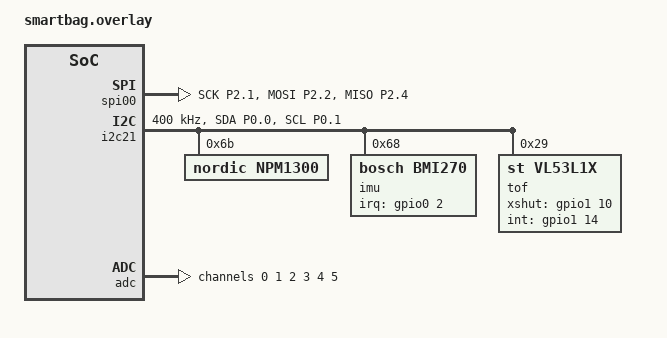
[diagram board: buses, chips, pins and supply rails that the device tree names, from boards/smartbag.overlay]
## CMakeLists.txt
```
# The nRF Connect SDK application: the nine HAL functions, and a main() that
# hands them to the logic in ../.
#
# ⭐ THE LOGIC IS NOT COPIED IN, IT IS COMPILED IN. ../sb_power.c and its
# neighbours are the same files firmware/Makefile builds for the host tests, and
# they appear once. A target build that forked them would let the tested version
# and the shipped version drift, which is the failure this whole arrangement
# exists to prevent.
cmake_minimum_required(VERSION 3.20.0)
find_package(Zephyr REQUIRED HINTS $ENV{ZEPHYR_BASE})
project(smartbag)

target_include_directories(app PRIVATE ${CMAKE_CURRENT_SOURCE_DIR}/..)

target_sources(app PRIVATE
    src/main.c
    src/sb_hal_zephyr.c
    src/npm1300.c
    src/gatt.c
    ../smartbag.c
    ../sb_power.c
    ../sb_sensors.c
    ../sb_sense.c
    ../sb_camera.c
    ../sb_fsr.c
    ../sb_ble.c
)
```

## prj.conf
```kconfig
# ⚠️ Every option here is switched on because a specific HAL function needs it.
# Nothing is enabled "in case".

# sb_hal_zephyr.c: gpio_set / gpio_get / mux_select
CONFIG_GPIO=y

# spi_xfer — the two radars and the camera share one bus, chip selects are
# GPIOs because there are three of them and one CSN pin.
CONFIG_SPI=y

# i2c_write / i2c_read — the PMIC, the IMU and the time-of-flight sensor
CONFIG_I2C=y

# adc_read — the six transimpedance outputs behind the multiplexer
CONFIG_ADC=y

# The GATT layer sb_ble.c encodes for. ⚠️ sb_ble.c produces the BYTES; this is
# the stack that carries them, and it is the one part of the firmware the host
# tests cannot exercise.
CONFIG_BT=y
CONFIG_BT_PERIPHERAL=y
CONFIG_BT_DEVICE_NAME="SmartBag"
CONFIG_BT_GATT_DYNAMIC_DB=y
CONFIG_BT_ATT_PREPARE_COUNT=2
# 247 bytes is what app/protocol.js assumes when it fragments an inventory.
CONFIG_BT_L2CAP_TX_MTU=247
CONFIG_BT_BUF_ACL_RX_SIZE=251
CONFIG_BT_BUF_ACL_TX_SIZE=251
CONFIG_BT_CTLR_DATA_LENGTH_MAX=251

# The ledger survives a reset: it is what the app reads to know what is in the
# bag, and losing it on every battery scare would make the inventory a lie.
CONFIG_NVS=y
CONFIG_FLASH=y
CONFIG_FLASH_MAP=y
CONFIG_SETTINGS=y

CONFIG_MAIN_STACK_SIZE=4096
CONFIG_HEAP_MEM_POOL_SIZE=8192

# ⭐ The logic below the HAL is plain C99 with no libc surprises; it is built
# with the same warnings the host tests use.
CONFIG_COMPILER_WARNINGS_AS_ERRORS=y

# Deep sleep is the whole power budget: thermal/budget.py charges 25 uW of
# "deep sleep" against the average, which is System OFF with RAM retention.
CONFIG_PM=y
CONFIG_PM_DEVICE=y

CONFIG_LOG=y
CONFIG_LOG_DEFAULT_LEVEL=2

# ⛔ THE PMIC IS A SENSOR DRIVER IN THIS TREE, not a charger one. Found by
# linking: charger_set_prop() compiles and does not link, because
# nordic,npm1300-charger is a binding under dts/bindings/sensor.
CONFIG_I2C=y
CONFIG_MFD=y
CONFIG_MFD_NPM13XX=y
CONFIG_SENSOR=y
CONFIG_NPM13XX_CHARGER=y
```

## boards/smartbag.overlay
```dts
/* GENERATED by hardware/generate_pinmap.py — do not edit.
 *
 * The board, as Zephyr needs to hear it. Every pin below is netlist.py's and
 * every charge threshold is the cell's own datasheet, via hardware/bom.py.
 *
 * ⚠️ This overlays the nRF54L15 DK, which is the only nRF54L15 board that can be
 * bought today. The SmartBag board is the same silicon with a different pin map,
 * and that pin map is what this file is.
 */

/* ⛔ I2C21 AND NOT I2C20. On nRF54L15 the peripheral instances are shared: SPI20,
 * SPIM20, TWIM20 and UARTE20 are the same block, and enabling two of them stops
 * the build with a static assertion rather than misbehaving at runtime. The DK
 * puts its console on uart20, so the bus had to move — and on the SmartBag board,
 * which has no console UART, instance 20 would have been free and this would
 * have been discovered on silicon instead.
 *
 * ⚠️ EVERY PINCTRL NODE NEEDS A SLEEP STATE AS WELL AS A DEFAULT. The board's
 * own devicetree gives spi00 both, so an overlay that replaces pinctrl-names
 * with a single "default" leaves pinctrl-1 defined and unnamed — and the build
 * stops with "has 1 strings, expected 2". It is also not busywork: the sleep
 * state is what disconnects the pins when the peripheral is powered down, and
 * this design spends almost all of its life powered down. */
&pinctrl {
    spi00_default: spi00_default {
        group1 {
            psels = <NRF_PSEL(SPIM_SCK, 2, 1)>,
                    <NRF_PSEL(SPIM_MOSI, 2, 2)>,
                    <NRF_PSEL(SPIM_MISO, 2, 4)>;
        };
    };

    spi00_sleep: spi00_sleep {
        group1 {
            psels = <NRF_PSEL(SPIM_SCK, 2, 1)>,
                    <NRF_PSEL(SPIM_MOSI, 2, 2)>,
                    <NRF_PSEL(SPIM_MISO, 2, 4)>;
            low-power-enable;
        };
    };

    i2c21_default: i2c21_default {
        group1 {
            psels = <NRF_PSEL(TWIM_SDA, 0, 0)>,
                    <NRF_PSEL(TWIM_SCL, 0, 1)>;
            bias-pull-up;
        };
    };

    i2c21_sleep: i2c21_sleep {
        group1 {
            psels = <NRF_PSEL(TWIM_SDA, 0, 0)>,
                    <NRF_PSEL(TWIM_SCL, 0, 1)>;
            low-power-enable;
        };
    };
};

&spi00 {
    status = "okay";
    pinctrl-0 = <&spi00_default>;
    pinctrl-1 = <&spi00_sleep>;
    pinctrl-names = "default", "sleep";
    /* ⚠️ No cs-gpios: there are three devices on this bus and one CSN pin, so
     * the selects are plain GPIOs driven by sb_hal_zephyr.c. */
};

&i2c21 {
    status = "okay";
    pinctrl-0 = <&i2c21_default>;
    pinctrl-1 = <&i2c21_sleep>;
    pinctrl-names = "default", "sleep";
    clock-frequency = <I2C_BITRATE_FAST>;

    npm1300: pmic@6b {
        compatible = "nordic,npm1300";
        reg = <0x6b>;

        npm1300_charger: charger {
            compatible = "nordic,npm1300-charger";
            /* From Jauch LP523450JU: 4.2 V termination, 1.0 C = 1000 mA. */
            term-microvolt = <4200000>;
            current-microamp = <1000000>;
            /* ⛔ The cell's own bands, not lithium's in general. */
            dischg-limit-microamp = <1000000>;
            vbus-limit-microamp = <500000>;
            thermistor-ohms = <10000>;
            thermistor-beta = <3435>;
            thermistor-cold-millidegrees = <0>;
            thermistor-cool-millidegrees = <15000>;
            thermistor-warm-millidegrees = <45000>;
            thermistor-hot-millidegrees = <55000>;
            charging-enable;
        };
    };

    imu@68 {
        compatible = "bosch,bmi270";
        reg = <0x68>;
        irq-gpios = <&gpio0 2 GPIO_ACTIVE_HIGH>;
    };

    tof@29 {
        compatible = "st,vl53l1x";
        reg = <0x29>;
        xshut-gpios = <&gpio1 10 GPIO_ACTIVE_HIGH>;
        int-gpios = <&gpio1 14 GPIO_ACTIVE_HIGH>;
    };
};

&adc {
    status = "okay";
    #address-cells = <1>;
    #size-cells = <0>;

    channel@0 {
        reg = <0>;
        zephyr,gain = "ADC_GAIN_1_4";
        zephyr,reference = "ADC_REF_VDD_1_4";
        zephyr,acquisition-time = <ADC_ACQ_TIME_DEFAULT>;
        zephyr,input-positive = <NRF_SAADC_AIN0>;   /* ADC0, P1.04 */
        zephyr,resolution = <12>;
    };

    channel@1 {
        reg = <1>;
        zephyr,gain = "ADC_GAIN_1_4";
        zephyr,reference = "ADC_REF_VDD_1_4";
        zephyr,acquisition-time = <ADC_ACQ_TIME_DEFAULT>;
        zephyr,input-positive = <NRF_SAADC_AIN1>;   /* ADC1, P1.05 */
        zephyr,resolution = <12>;
    };

    channel@2 {
        reg = <2>;
        zephyr,gain = "ADC_GAIN_1_4";
        zephyr,reference = "ADC_REF_VDD_1_4";
        zephyr,acquisition-time = <ADC_ACQ_TIME_DEFAULT>;
        zephyr,input-positive = <NRF_SAADC_AIN2>;   /* ADC2, P1.06 */
        zephyr,resolution = <12>;
    };

    channel@3 {
        reg = <3>;
        zephyr,gain = "ADC_GAIN_1_4";
        zephyr,reference = "ADC_REF_VDD_1_4";
        zephyr,acquisition-time = <ADC_ACQ_TIME_DEFAULT>;
        zephyr,input-positive = <NRF_SAADC_AIN3>;   /* ADC3, P1.07 */
        zephyr,resolution = <12>;
    };

    channel@4 {
        reg = <4>;
        zephyr,gain = "ADC_GAIN_1_4";
        zephyr,reference = "ADC_REF_VDD_1_4";
        zephyr,acquisition-time = <ADC_ACQ_TIME_DEFAULT>;
        zephyr,input-positive = <NRF_SAADC_AIN4>;   /* ADC4, P1.11 */
        zephyr,resolution = <12>;
    };

    channel@5 {
        reg = <5>;
        zephyr,gain = "ADC_GAIN_1_4";
        zephyr,reference = "ADC_REF_VDD_1_4";
        zephyr,acquisition-time = <ADC_ACQ_TIME_DEFAULT>;
        zephyr,input-positive = <NRF_SAADC_AIN5>;   /* ADC5, P1.12 */
        zephyr,resolution = <12>;
    };
};
```

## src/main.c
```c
/* The entry point: build the HAL, hand it to the logic, and get out of the way.
 *
 * ⭐ THIS FILE IS DELIBERATELY SHORT AND HAS NOTHING TO TEST IN IT. Every
 * decision the bag makes — when to wake, what to believe, whether to charge —
 * is in ../smartbag.c, ../sb_power.c, ../sb_sensors.c and ../sb_fsr.c, under
 * 378 host assertions. If a rule ever appears here it has escaped from
 * somewhere it could be checked, and it should be put back.
 *
 * ⚠️ COMPILED, and that is recent. tools/check.py builds this image and fails
 * if it does not link; see README.md for what that does and does not prove.
 */
#include <zephyr/kernel.h>
#include <zephyr/bluetooth/bluetooth.h>
#include <zephyr/logging/log.h>

#include "smartbag.h"
#include "sb_hal.h"
#include "sb_power.h"
#include "sb_sensors.h"
#include "sb_sense.h"
#include "sb_fsr.h"
#include "sb_ble.h"

LOG_MODULE_REGISTER(smartbag, CONFIG_LOG_DEFAULT_LEVEL);

int sb_hal_zephyr_init(sb_hal *hal);
bool sb_pmic_ready(void);
int16_t sb_pmic_cell_temp_c(bool *valid);
void sb_pmic_apply(const sb_charge_decision *d);
int sb_gatt_start(const sb_device *d, const sb_config *cfg, sb_enroll *e);

static sb_hal hal;
static sb_device dev;
static sb_sensors sensors;
static sb_enroll enroll;
static const sb_config *const cfg = &SB_DEFAULTS;

/* ⚠️ 28 kB of it — an 18 kB RGB565 frame and a 9 kB luma one — so it is a
 * static and not a stack frame. Zephyr's main thread stack is 2 kB. */
static sb_sense sense;

/* The FSR front end: the multiplexer and the amplifiers behind the same HAL. */
static void fsr_drive(void *c, uint8_t col, sb_fsr_drive m);
static uint16_t fsr_read(void *c, uint8_t row);
static void fsr_settle(void *c, uint32_t us);
static sb_fsr_hal fsr_hal;

/* ⭐ THE LOOP PRODUCES EVENTS AND sb_feed DECIDES WHAT THEY MEAN, and this
 * three-line function is the entire join between them. Everything above it is
 * silicon and everything below it is under host assertions. */
static void feed(void *ctx, const sb_event *ev)
{
    ARG_UNUSED(ctx);
    sb_feed(&dev, cfg, ev);
}

/* ⚠️ The Hall sensor is the whole wake-up chain's first link and it is also the
 * charge interlock's only input. Reading it in one place means the two cannot
 * disagree about whether the bag is open. */
static bool bag_is_open(void)
{
    /* DRV5032 is open-drain and active low: pulled down when a magnet is near,
     * which is when the closure is SHUT. */
    return hal.gpio_get(hal.ctx, SB_PIN_HALL);
}

int main(void)
{
    if (sb_hal_zephyr_init(&hal) != 0) {
        LOG_ERR("HAL did not come up — nothing below this is meaningful");
        return -ENODEV;
    }
    sb_sensors_init(&sensors);
    sb_init(&dev, hal.now_ms(hal.ctx));
    fsr_hal = (sb_fsr_hal){ fsr_drive, fsr_read, fsr_settle, NULL };
    sb_sense_init(&sense, hal.now_ms(hal.ctx));

    int err = bt_enable(NULL);
    if (err) {
        /* ⚠️ Not fatal. A bag that cannot talk to a phone still has to know
         * what is in it and still has to charge safely; the radio is the least
         * important thing here and must not take the rest down with it. */
        LOG_WRN("bluetooth did not start (%d) — running without it", err);
    } else {
        sb_enroll_init(&enroll, 1);
        err = sb_gatt_start(&dev, cfg, &enroll);
        if (err) {
            LOG_WRN("advertising did not start (%d)", err);
        }
    }

    if (!sb_pmic_ready()) {
        /* ⛔ FATAL, unlike the radio. Without the PMIC there is no cell
         * temperature, and firmware/sb_power.c refuses to charge without one —
         * so a bag that ran on would quietly never charge again. */
        LOG_ERR("nPM1300 not ready — no cell temperature, so no charging");
    }
    LOG_INF("SmartBag up: %u taxels, cell %u mAh",
            (unsigned)SB_FSR_TAXELS, (unsigned)SB_CELL_CAPACITY_MAH);

    for (;;) {
        const uint32_t now = hal.now_ms(hal.ctx);

        /* ⭐ THE CHARGE DECISION IS TAKEN EVERY TICK AND IS CHEAP. It is three
         * comparisons against numbers out of the cell's datasheet, and the
         * alternative — deciding once when the pad appears — is a bag that
         * started charging on a cool morning and kept going in a hot car. */
        bool ntc_ok = false;
        const int16_t cell_c = sb_pmic_cell_temp_c(&ntc_ok);
        const sb_charge_input in = {
            .vbus_present = hal.gpio_get(hal.ctx, SB_PIN_PMIC_IRQ),
            .bag_open = bag_is_open(),
            .cell_c = cell_c,
            .ntc_valid = ntc_ok,
        };
        const sb_charge_decision d = sb_charge_decide(&in);
        sb_pmic_apply(&d);

        /* ⭐ AND HERE IS THE THING THAT WAS MISSING FOR THE WHOLE OF THIS
         * PROJECT'S LIFE. sb_feed() is what turns a sensor into an inventory
         * and until now nothing called it: the bag could boot, advertise,
         * charge and answer a phone, and report itself empty forever. */
        const uint32_t wait = sb_sense_step(&sense, &hal, &sensors, &fsr_hal,
                                            now, feed, NULL);

        sb_tick(&dev, cfg, now);

        /* ⚠️ THE SLEEP IS THE SENSING LOOP'S, NOT A CONSTANT. thermal/budget.py's
         * 25 uW of deep sleep is the dominant term once the sensors are idle,
         * and sb_sense_step returns 250 ms when the bag is shut and 30 while it
         * is watching the mouth — so the bag polls fast exactly when something
         * is happening and is asleep the rest of the time. The floor of 20 ms
         * is there so the charge decision above still runs often enough to
         * matter, and its ceiling is the loop's own answer. */
        k_msleep(wait < 20 ? 20 : (wait > 250 ? 250 : wait));
    }
    return 0;
}

/* ── the taxel front end ──────────────────────────────────────────────────────
 * ⚠️ Three lines of glue that could have lived in sb_hal_zephyr.c and do not,
 * because sb_fsr.h's vtable is a different shape from sb_hal's and joining them
 * there would have made that file know about both. */
static void fsr_drive(void *c, uint8_t col, sb_fsr_drive m)
{
    ARG_UNUSED(c);
    /* ⛔ THE POLARITY IS INVERTED HERE AND THAT IS THE BOARD, NOT A BUG.
     * sb_fsr.c models a matrix where the idle columns are held at ground and
     * the selected one is driven high. hardware/netlist.py drew the opposite
     * and did it on purpose: all sixteen columns rest at VREF through R20..R35,
     * and U7 — one CD74HC4067 — pulls exactly ONE of them down to ground. The
     * topology is what sb_fsr.c actually depends on, which is that the idle
     * columns sit at the same potential as the row amplifiers' summing junction
     * and so cannot carry a sneak current. Which end of the supply that shared
     * potential is does not change a single reading.
     *
     * ⭐ AND IT MEANS THE GHOSTING TEST'S BAD CASE CANNOT BE BUILT ON THIS
     * BOARD. test_sb_fsr.c solves the network and finds a phantom taxel reading
     * 39% of a real one when the idle columns float; here they cannot float,
     * because sixteen resistors hold them. SB_FSR_HIZ and SB_FSR_LOW therefore
     * do the same thing — disable the multiplexer — and the pull-ups do the
     * rest.
     *
     * ⚠️ The channel is 0..15. There is no col+16: it is one 16:1 part, not two. */
    switch (m) {
    case SB_FSR_HIGH: hal.mux_select(hal.ctx, col); break;   /* select = pull low */
    case SB_FSR_LOW:
    case SB_FSR_HIZ:
    default:          hal.mux_select(hal.ctx, -1); break;    /* the pull-ups hold */
    }
}

static uint16_t fsr_read(void *c, uint8_t row)
{
    ARG_UNUSED(c);
    return hal.adc_read(hal.ctx, row);
}

static void fsr_settle(void *c, uint32_t us)
{
    ARG_UNUSED(c);
    hal.delay_us(hal.ctx, us);
}
```

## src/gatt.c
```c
/* The GATT service: five characteristics carrying bytes sb_ble.c already makes.
 *
 * ⛔ THIS WAS THE LAST THING IN THE FIRMWARE THE HOST TESTS COULD NOT STAND IN
 * FOR. sb_ble.c encodes every payload and app/protocol.js decodes the same bytes
 * under 15 tests — both ends of the wire were written and checked against each
 * other, with nothing in between. A service definition is what turns two
 * agreeing codecs into a link.
 *
 * ⭐ SO THERE IS NO ENCODING IN THIS FILE. Every read handler calls into
 * ../sb_ble.c and hands back what it produced; the UUIDs are the ones
 * app/app.js already asks for. If a payload is ever wrong, it is wrong in a file
 * that has tests, not in this one.
 *
 * ⚠️ THE UUIDs ARE PLACEHOLDERS AND app/app.js SAYS SO TOO. 5342a0xx in the
 * Bluetooth base range is fine on a bench and is not an allocation; shipping
 * wants a real 128-bit base, and both sides have to change together.
 */
#include <zephyr/kernel.h>
#include <zephyr/bluetooth/bluetooth.h>
#include <zephyr/bluetooth/gatt.h>
#include <zephyr/bluetooth/uuid.h>
#include <zephyr/logging/log.h>

#include "smartbag.h"
#include "sb_ble.h"

/* ⚠️ Declared here rather than included: these are the two numbers the info
 * payload needs from outside the ledger, and both come from files this one has
 * no other business with. */
uint8_t sb_pmic_battery_pct(void);
uint8_t sb_fsr_faults(void);
#define SB_FIRMWARE_VERSION 0x0103      /* 1.3, as app/app.js expects */

LOG_MODULE_REGISTER(sb_gatt, CONFIG_LOG_DEFAULT_LEVEL);

#define SB_UUID(n) BT_UUID_DECLARE_16(0xa0##n)

/* 5342a000-…: the service, then inventory, position, event, enrollment, info. */
static struct bt_uuid_128 uuid_svc = BT_UUID_INIT_128(
	BT_UUID_128_ENCODE(0x5342a000, 0x0000, 0x1000, 0x8000, 0x00805f9b34fb));
static struct bt_uuid_128 uuid_inventory = BT_UUID_INIT_128(
	BT_UUID_128_ENCODE(0x5342a001, 0x0000, 0x1000, 0x8000, 0x00805f9b34fb));
static struct bt_uuid_128 uuid_position = BT_UUID_INIT_128(
	BT_UUID_128_ENCODE(0x5342a002, 0x0000, 0x1000, 0x8000, 0x00805f9b34fb));
static struct bt_uuid_128 uuid_event = BT_UUID_INIT_128(
	BT_UUID_128_ENCODE(0x5342a003, 0x0000, 0x1000, 0x8000, 0x00805f9b34fb));
static struct bt_uuid_128 uuid_enroll = BT_UUID_INIT_128(
	BT_UUID_128_ENCODE(0x5342a004, 0x0000, 0x1000, 0x8000, 0x00805f9b34fb));
static struct bt_uuid_128 uuid_info = BT_UUID_INIT_128(
	BT_UUID_128_ENCODE(0x5342a005, 0x0000, 0x1000, 0x8000, 0x00805f9b34fb));

/* ⚠️ One buffer, and every handler fills it fresh. The characteristics are read
 * one at a time over a single connection; a buffer each would cost 5 x 244 bytes
 * of RAM to describe a bag that has at most a dozen things in it. */
static uint8_t payload[247];

static const sb_device *device;
static const sb_config *config;
static sb_enroll *enroll;

static ssize_t read_encoded(struct bt_conn *conn,
			    const struct bt_gatt_attr *attr, void *buf,
			    uint16_t len, uint16_t offset, int n)
{
	ARG_UNUSED(conn);
	ARG_UNUSED(attr);
	if (n < 0) {
		return BT_GATT_ERR(BT_ATT_ERR_UNLIKELY);
	}
	return bt_gatt_attr_read(conn, attr, buf, len, offset, payload, (uint16_t)n);
}

static ssize_t read_inventory(struct bt_conn *conn,
			      const struct bt_gatt_attr *attr, void *buf,
			      uint16_t len, uint16_t offset)
{
	return read_encoded(conn, attr, buf, len, offset,
			    sb_ble_encode_inventory(device, payload,
						    sizeof(payload)));
}

/* ⛔ THE DEVICE DOES NOT STORE POSITIONS AND THAT IS NOT AN OMISSION. sb_map
 * holds when the bag was last measured and how much it has been shaken since —
 * the trust, not the answer. The points come from a radar sweep, and until one
 * has run there is nothing to report but the ledger.
 *
 * ⭐ WHICH IS EXACTLY WHAT GETS REPORTED, at confidence zero. sb_ble.c already
 * encodes a below-threshold object as a compartment and no point, and
 * app/app.js already draws that as a tinted third of the bag rather than a dot.
 * Both ends were written for this state; it is the state the bag is in for most
 * of its life, and it is the honest one before the sensing loop exists.
 */
static ssize_t read_position(struct bt_conn *conn,
			     const struct bt_gatt_attr *attr, void *buf,
			     uint16_t len, uint16_t offset)
{
	sb_ble_position pos[SB_MAX_OBJECTS];
	int n = 0;

	for (int i = 0; i < device->ledger.count && n < SB_MAX_OBJECTS; i++) {
		if (!device->ledger.items[i].present) {
			continue;
		}
		pos[n].object_id = device->ledger.items[i].id;
		pos[n].x_um = 0;
		pos[n].y_um = 0;
		pos[n].compartment = 1;          /* the middle third, unless measured */
		pos[n].confidence = 0;           /* below SB_CONFIDENCE_FLOOR */
		n++;
	}
	return read_encoded(conn, attr, buf, len, offset,
			    sb_ble_encode_position(device, config, pos, n,
						   (uint32_t)k_uptime_get_32(),
						   payload, sizeof(payload)));
}

static ssize_t read_info(struct bt_conn *conn, const struct bt_gatt_attr *attr,
			 void *buf, uint16_t len, uint16_t offset)
{
	return read_encoded(conn, attr, buf, len, offset,
			    sb_ble_encode_device_info(device,
						      (uint32_t)k_uptime_get_32(),
						      sb_pmic_battery_pct(),
						      SB_FIRMWARE_VERSION,
						      sb_fsr_faults(), payload,
						      sizeof(payload)));
}

/* ⛔ ENROLMENT IS A WRITE, AND ITS ANSWER CAN BE "NO". sb_enroll_write() refuses
 * a label the insert cannot tell apart from one it already knows, and that
 * refusal is the interesting case — accepting it would make two objects
 * interchangeable for good. The decision is sb_ble.c's; this only carries it. */
static ssize_t write_enroll(struct bt_conn *conn,
			    const struct bt_gatt_attr *attr, const void *buf,
			    uint16_t len, uint16_t offset, uint8_t flags)
{
	ARG_UNUSED(conn);
	ARG_UNUSED(attr);
	ARG_UNUSED(flags);
	if (offset != 0) {
		return BT_GATT_ERR(BT_ATT_ERR_INVALID_OFFSET);
	}
	int n = sb_enroll_write(enroll, (sb_device *)device, buf, len,
				(uint32_t)k_uptime_get_32(), payload,
				sizeof(payload));
	if (n < 0) {
		return BT_GATT_ERR(BT_ATT_ERR_WRITE_NOT_PERMITTED);
	}
	return len;
}

static void ccc_changed(const struct bt_gatt_attr *attr, uint16_t value)
{
	ARG_UNUSED(attr);
	LOG_INF("notifications %s", value == BT_GATT_CCC_NOTIFY ? "on" : "off");
}

BT_GATT_SERVICE_DEFINE(smartbag_svc,
	BT_GATT_PRIMARY_SERVICE(&uuid_svc),

	BT_GATT_CHARACTERISTIC(&uuid_inventory.uuid,
			       BT_GATT_CHRC_READ | BT_GATT_CHRC_NOTIFY,
			       BT_GATT_PERM_READ, read_inventory, NULL, NULL),
	BT_GATT_CCC(ccc_changed, BT_GATT_PERM_READ | BT_GATT_PERM_WRITE),

	BT_GATT_CHARACTERISTIC(&uuid_position.uuid,
			       BT_GATT_CHRC_READ | BT_GATT_CHRC_NOTIFY,
			       BT_GATT_PERM_READ, read_position, NULL, NULL),
	BT_GATT_CCC(ccc_changed, BT_GATT_PERM_READ | BT_GATT_PERM_WRITE),

	BT_GATT_CHARACTERISTIC(&uuid_event.uuid, BT_GATT_CHRC_NOTIFY,
			       BT_GATT_PERM_NONE, NULL, NULL, NULL),
	BT_GATT_CCC(ccc_changed, BT_GATT_PERM_READ | BT_GATT_PERM_WRITE),

	BT_GATT_CHARACTERISTIC(&uuid_enroll.uuid,
			       BT_GATT_CHRC_WRITE | BT_GATT_CHRC_NOTIFY,
			       BT_GATT_PERM_WRITE, NULL, write_enroll, NULL),
	BT_GATT_CCC(ccc_changed, BT_GATT_PERM_READ | BT_GATT_PERM_WRITE),

	BT_GATT_CHARACTERISTIC(&uuid_info.uuid, BT_GATT_CHRC_READ,
			       BT_GATT_PERM_READ, read_info, NULL, NULL),
);

static const struct bt_data ad[] = {
	BT_DATA_BYTES(BT_DATA_FLAGS, (BT_LE_AD_GENERAL | BT_LE_AD_NO_BREDR)),
	BT_DATA(BT_DATA_NAME_COMPLETE, CONFIG_BT_DEVICE_NAME,
		sizeof(CONFIG_BT_DEVICE_NAME) - 1),
};

int sb_gatt_start(const sb_device *d, const sb_config *cfg, sb_enroll *e)
{
	device = d;
	config = cfg;
	enroll = e;
	/* ⚠️ Connectable advertising costs 12 mW for a millisecond a second, which
	 * is 12 uW of the 0.14 mW budget in thermal/budget.py — the second largest
	 * term in it, and the reason this is not faster. */
	return bt_le_adv_start(BT_LE_ADV_CONN_FAST_1, ad, ARRAY_SIZE(ad), NULL, 0);
}

/* Called by main() when something happened the app should hear about. */
void sb_gatt_notify_event(sb_ble_event_type type, uint16_t object_id,
			  uint32_t now_ms)
{
	int n = sb_ble_encode_event(type, object_id, now_ms, payload,
				    sizeof(payload));
	if (n > 0) {
		bt_gatt_notify(NULL, &smartbag_svc.attrs[7], payload, (uint16_t)n);
	}
}
```

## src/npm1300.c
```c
/* The PMIC, through Nordic's own driver rather than through invented registers.
 *
 * ⛔ THE TEMPTATION HERE IS A REGISTER MAP FROM MEMORY. Write `i2c_write(0x6b,
 * 0x0303, 0x01)` and the charger appears to come on; get one offset wrong and it
 * comes on with the wrong current limit, into a cell whose datasheet says 1.0 C.
 * This project spent a long time removing exactly that kind of invention from
 * its bill of materials, and it would be a strange place to reintroduce it.
 *
 * ⭐ SO THE THRESHOLDS ARE DEVICETREE AND THE ACTIONS ARE THE DRIVER'S. The JEITA
 * bands, the termination voltage and the 1.0 C charge current are in
 * boards/smartbag.overlay, which hardware/generate_pinmap.py writes from the
 * cell's own datasheet; what is left for C is turning sb_charge_decide()'s
 * answer into two calls.
 *
 * ⚠️ IT IS A SENSOR DRIVER, NOT A CHARGER DRIVER, AND THAT WAS WORTH FINDING OUT
 * BY COMPILING. This file first used Zephyr's charger API — charger_set_prop(),
 * CHARGER_PROP_CONSTANT_CHARGE_CURRENT_UA — which reads correctly and does not
 * link: in this tree nordic,npm1300-charger is a binding under
 * dts/bindings/sensor, and it is driven with sensor_attr_set().
 *
 * ⭐ THE MAPPING IS BETTER THAN THE ONE IT REPLACED, TOO. The attribute that sets
 * a current is the VBUS INPUT limit, not the charge current — and the input is
 * exactly what the policy constrains. thermal/budget.py's closed-bag figure is
 * watts arriving at the coil; the charge current into the cell is the cell's own
 * business and stays in devicetree where its datasheet put it.
 */
#include <zephyr/kernel.h>
#include <zephyr/device.h>
#include <zephyr/drivers/sensor.h>
#include <zephyr/logging/log.h>

#include "sb_power.h"

LOG_MODULE_REGISTER(npm1300, CONFIG_LOG_DEFAULT_LEVEL);

static const struct device *const charger =
	DEVICE_DT_GET(DT_NODELABEL(npm1300_charger));

/* VBUS is nominally 5 V out of the Qi receiver, so the policy's milliwatts
 * become milliamps by dividing by five. ⚠️ The driver snaps this to the nearest
 * limit the hardware actually has, which is a short list. */
#define VBUS_MV 5000

bool sb_pmic_ready(void)
{
	return device_is_ready(charger);
}

/* ⚠️ Returns the CELL's temperature, not the die's. They are different numbers
 * and the policy is about the first: the thermistor is in the pack, on pin 3 of
 * the harness, which is the entire reason J2 has three ways. */
int16_t sb_pmic_cell_temp_c(bool *valid)
{
	struct sensor_value t;

	*valid = false;
	if (!device_is_ready(charger)) {
		return 0;
	}
	if (sensor_sample_fetch(charger) != 0) {
		return 0;
	}
	if (sensor_channel_get(charger, SENSOR_CHAN_GAUGE_TEMP, &t) != 0) {
		return 0;
	}
	/* ⛔ AN OPEN THERMISTOR READS AS A PLAUSIBLE TEMPERATURE. A disconnected NTC
	 * pulls the divider to one rail, which the PMIC converts into a number at
	 * the end of its range rather than into an error — so "very cold" and "not
	 * plugged in" look the same. Anything outside what a bag can physically be
	 * is treated as a lost sensor, and sb_charge_decide() refuses to charge on
	 * it. That branch is one of the 276 host assertions.
	 */
	if (t.val1 < -30 || t.val1 > 90) {
		LOG_WRN("cell NTC reads %d C — treating as disconnected", t.val1);
		return 0;
	}
	*valid = true;
	return (int16_t)t.val1;
}

void sb_pmic_apply(const sb_charge_decision *d)
{
	struct sensor_value v;

	if (!device_is_ready(charger)) {
		return;
	}

	if (d->mode == SB_CHG_OFF) {
		v.val1 = 0;
		v.val2 = 0;
		sensor_attr_set(charger, SENSOR_CHAN_GAUGE_DESIRED_CHARGING_CURRENT,
				SENSOR_ATTR_CONFIGURATION, &v);
		return;
	}

	/* How much may arrive, in amps and microamps. */
	const uint32_t ua = (uint32_t)d->limit_mw * 1000U / VBUS_MV * 1000U;

	v.val1 = (int32_t)(ua / 1000000U);
	v.val2 = (int32_t)(ua % 1000000U);
	sensor_attr_set(charger, SENSOR_CHAN_CURRENT, SENSOR_ATTR_UPPER_THRESH, &v);

	v.val1 = 1;
	v.val2 = 0;
	sensor_attr_set(charger, SENSOR_CHAN_GAUGE_DESIRED_CHARGING_CURRENT,
			SENSOR_ATTR_CONFIGURATION, &v);
}

/* ⛔ STATE OF CHARGE IS NOT A THING THIS PMIC MEASURES. The nPM1300 reports
 * cell VOLTAGE, current and temperature; turning those into a percentage is a
 * model of the cell, and Nordic ship one as a separate library rather than in
 * the driver.
 *
 * ⭐ SO THE MODEL LIVES IN ../sb_power.c WHERE IT CAN BE TESTED, and this
 * function is two sensor reads and a call. What it used to be was a straight
 * line from 3.0 V to 4.2 V, which reads the cell's own stated 30% delivery
 * state as 64% — see the comment on SOC_CURVE for the four datasheet points
 * that replaced it, and test_sb_power.c for the assertions that hold it there.
 *
 * ⚠️ AND THE CURRENT MATTERS AS MUCH AS THE VOLTAGE. 180 mOhm of pack impedance
 * against a 1 A charge is 180 mV of lift; reading the terminal voltage while
 * charging and calling it state of charge is how a gauge jumps twenty points
 * when a bag is put on its pad. If the current cannot be read the correction is
 * zero, which is the old behaviour and is right for a resting cell.
 */
uint8_t sb_pmic_battery_pct(void)
{
	struct sensor_value v;

	if (!device_is_ready(charger) || sensor_sample_fetch(charger) != 0) {
		return 0;
	}
	if (sensor_channel_get(charger, SENSOR_CHAN_GAUGE_VOLTAGE, &v) != 0) {
		return 0;
	}
	const int mv = v.val1 * 1000 + v.val2 / 1000;

	int ma = 0;
	struct sensor_value i;
	if (sensor_channel_get(charger, SENSOR_CHAN_GAUGE_AVG_CURRENT, &i) == 0) {
		ma = i.val1 * 1000 + i.val2 / 1000;
	}
	if (mv < 0 || mv > 0xFFFF) {
		return 0;
	}
	return sb_soc_from_ocv_mv(sb_soc_ocv_mv((uint16_t)mv, (int16_t)ma));
}
```

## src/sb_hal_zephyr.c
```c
/* The nine functions sb_hal.h declares, on an nRF54L15 under Zephyr.
 *
 * ⛔ THIS IS THE FILE THAT DID NOT EXIST. sb_hal.h has said so since it was
 * written — "everything below is a function pointer and none of it is
 * implemented here" — and that was the honest size of the remaining silicon
 * work: nine functions, plus a stack. Everything above them was already written
 * and under 276 host assertions against a simulated bus.
 *
 * ⭐ NOTHING ABOVE THIS LINE CHANGES TO SUIT IT. The vtable is filled in here
 * and handed down; sb_sensors.c and sb_fsr.c are compiled from the same source
 * the host tests build, unmodified. That is the entire argument for having had
 * a HAL in the first place, and it is only worth anything if the target build
 * does not fork them.
 *
 * ⚠️ THIS HAS NOT BEEN COMPILED. There is no nRF Connect SDK and no ARM
 * toolchain on the machine it was written on, so it has been written against
 * the Zephyr API rather than against a compiler. Treat every line as a first
 * draft that has never met silicon — the arrangement is sound, the spelling of
 * the API calls is where the bugs will be. firmware/target/README.md says what
 * to run to find out.
 */
#include <zephyr/kernel.h>
#include <zephyr/device.h>
#include <zephyr/drivers/gpio.h>
#include <zephyr/drivers/spi.h>
#include <zephyr/drivers/i2c.h>
#include <zephyr/drivers/adc.h>
#include <zephyr/logging/log.h>

#include "sb_hal.h"
#include "sb_pinmap.h"

LOG_MODULE_REGISTER(sb_hal, CONFIG_LOG_DEFAULT_LEVEL);

/* ── the three GPIO ports, by devicetree label ───────────────────────────── */
static const struct device *const ports[3] = {
    DEVICE_DT_GET(DT_NODELABEL(gpio0)),
    DEVICE_DT_GET(DT_NODELABEL(gpio1)),
    DEVICE_DT_GET(DT_NODELABEL(gpio2)),
};

static const struct device *const spi_bus = DEVICE_DT_GET(DT_NODELABEL(spi00));
static const struct device *const i2c_bus = DEVICE_DT_GET(DT_NODELABEL(i2c21));
static const struct device *const saadc = DEVICE_DT_GET(DT_NODELABEL(adc));

/* ⚠️ Chip select is a plain GPIO and not the SPI driver's cs field, because
 * there are three devices and one CSN pin. The driver would drive its own line
 * on every transfer and the radar would never see its select go low. */
static struct spi_config spi_cfg = {
    /* A121 datasheet section 8: SPI mode 0, up to 50 MHz. The SoC's SPIM00 does
     * 32 MHz, which is the reason SPI_SCK/MOSI/MISO are not allowed to move off
     * P2.01/02/04 — see the comment in hardware/netlist.py. */
    .frequency = 32000000,
    .operation = SPI_WORD_SET(8) | SPI_TRANSFER_MSB | SPI_OP_MODE_MASTER,
    .slave = 0,
};

static int cfg_out(uint8_t port, uint8_t pin, int flags)
{
    if (port >= ARRAY_SIZE(ports) || !device_is_ready(ports[port])) {
        return -ENODEV;
    }
    return gpio_pin_configure(ports[port], pin, flags);
}

/* ── time ────────────────────────────────────────────────────────────────── */
static uint32_t hal_now_ms(void *ctx)
{
    ARG_UNUSED(ctx);
    return (uint32_t)k_uptime_get_32();
}

static void hal_delay_us(void *ctx, uint32_t us)
{
    ARG_UNUSED(ctx);
    /* ⚠️ Busy-wait, not k_sleep. The callers are bring-up sequences with
     * microsecond settling times out of a datasheet; handing those to the
     * scheduler turns a 10 us wait into a tick. */
    k_busy_wait(us);
}

/* ── SPI ─────────────────────────────────────────────────────────────────── */
static bool hal_spi_xfer(void *ctx, sb_cs cs, const uint8_t *tx, uint8_t *rx,
                         size_t len)
{
    ARG_UNUSED(ctx);
    if (cs >= SB_CS_COUNT || !device_is_ready(spi_bus)) {
        return false;
    }
    const struct spi_buf tx_buf = { .buf = (void *)tx, .len = len };
    const struct spi_buf rx_buf = { .buf = rx, .len = len };
    const struct spi_buf_set tx_set = { .buffers = &tx_buf, .count = tx ? 1 : 0 };
    const struct spi_buf_set rx_set = { .buffers = &rx_buf, .count = rx ? 1 : 0 };

    const uint8_t port = sb_cs_pins[cs].port, pin = sb_cs_pins[cs].pin;
    gpio_pin_set_raw(ports[port], pin, 0);          /* select: active low */
    int err = spi_transceive(spi_bus, &spi_cfg, tx ? &tx_set : NULL,
                             rx ? &rx_set : NULL);
    gpio_pin_set_raw(ports[port], pin, 1);
    if (err) {
        LOG_WRN("spi cs=%d len=%u err=%d", (int)cs, (unsigned)len, err);
    }
    return err == 0;
}

/* ⭐ ONE ASSERTION, TWO PHASES. Zephyr's spi_buf_set is a list, so a command
 * phase and a data phase of different lengths is what the API was built for:
 * the transmit set holds the command, the receive set skips those bytes and
 * then fills the frame buffer. The chip select is held across both because it
 * is a GPIO this file owns rather than the controller's own. */
static bool hal_spi_burst_read(void *ctx, sb_cs cs, const uint8_t *cmd,
                               size_t cmd_len, uint8_t *rx, size_t rx_len)
{
    ARG_UNUSED(ctx);
    if (cs >= SB_CS_COUNT || !device_is_ready(spi_bus) || !rx) {
        return false;
    }
    const struct spi_buf tx_bufs[] = { { .buf = (void *)cmd, .len = cmd_len } };
    const struct spi_buf rx_bufs[] = {
        { .buf = NULL, .len = cmd_len },        /* discard the command phase */
        { .buf = rx,   .len = rx_len },
    };
    const struct spi_buf_set tx_set = { .buffers = tx_bufs, .count = 1 };
    const struct spi_buf_set rx_set = { .buffers = rx_bufs, .count = 2 };

    const uint8_t port = sb_cs_pins[cs].port, pin = sb_cs_pins[cs].pin;
    gpio_pin_set_raw(ports[port], pin, 0);
    int err = spi_transceive(spi_bus, &spi_cfg, cmd_len ? &tx_set : NULL,
                             &rx_set);
    gpio_pin_set_raw(ports[port], pin, 1);
    if (err) {
        LOG_WRN("spi burst cs=%d len=%u err=%d", (int)cs, (unsigned)rx_len, err);
    }
    return err == 0;
}

/* ── I2C ─────────────────────────────────────────────────────────────────── */
static bool hal_i2c_write(void *ctx, uint8_t addr, const uint8_t *buf,
                          size_t len)
{
    ARG_UNUSED(ctx);
    if (!device_is_ready(i2c_bus)) {
        return false;
    }
    return i2c_write(i2c_bus, buf, len, addr) == 0;
}

static bool hal_i2c_read(void *ctx, uint8_t addr, uint8_t reg, uint8_t *buf,
                         size_t len)
{
    ARG_UNUSED(ctx);
    if (!device_is_ready(i2c_bus)) {
        return false;
    }
    return i2c_write_read(i2c_bus, addr, &reg, 1, buf, len) == 0;
}

/* ── GPIO ────────────────────────────────────────────────────────────────── */
static void hal_gpio_set(void *ctx, uint8_t pin_id, sb_pin_state s)
{
    ARG_UNUSED(ctx);
    if (pin_id >= SB_PIN_COUNT) {
        return;
    }
    gpio_pin_set_raw(ports[sb_pinmap[pin_id].port], sb_pinmap[pin_id].pin,
                     s == SB_PIN_HIGH);
}

static bool hal_gpio_get(void *ctx, uint8_t pin_id)
{
    ARG_UNUSED(ctx);
    if (pin_id >= SB_PIN_COUNT) {
        return false;
    }
    return gpio_pin_get_raw(ports[sb_pinmap[pin_id].port],
                            sb_pinmap[pin_id].pin) == 1;
}

/* ── the FSR multiplexer ─────────────────────────────────────────────────── */
static void hal_mux_select(void *ctx, int channel)
{
    ARG_UNUSED(ctx);
    /* ⛔ DISABLE FIRST, THEN ADDRESS. The CD74HC4067's four select lines do not
     * change together, so an enabled multiplexer walks through intermediate
     * channels on its way to the one asked for — connecting column 7 to a row
     * amplifier for a few nanoseconds on the way from 6 to 8. sb_fsr.c's whole
     * model of the matrix assumes one column is driven at a time. */
    gpio_pin_set_raw(ports[SB_MUX_EN_PORT], SB_MUX_EN_PIN, 1);   /* EN is low-true */
    if (channel < 0) {
        return;
    }
    for (int i = 0; i < 4; i++) {
        gpio_pin_set_raw(ports[sb_mux_sel[i].port], sb_mux_sel[i].pin,
                         (channel >> i) & 1);
    }
    gpio_pin_set_raw(ports[SB_MUX_EN_PORT], SB_MUX_EN_PIN, 0);
}

/* ── SAADC ───────────────────────────────────────────────────────────────── */
static uint16_t hal_adc_read(void *ctx, uint8_t channel)
{
    ARG_UNUSED(ctx);
    if (channel >= ARRAY_SIZE(sb_adc_rows) || !device_is_ready(saadc)) {
        return 0;
    }
    int16_t sample = 0;
    const struct adc_sequence seq = {
        .channels = BIT(channel),
        .buffer = &sample,
        .buffer_size = sizeof(sample),
        .resolution = 12,
        .oversampling = 2,       /* 4x: the front end is quiet, the bag is not */
    };
    if (adc_read(saadc, &seq) != 0) {
        return 0;
    }
    return sample < 0 ? 0 : (uint16_t)sample;
}

/* ── bring the ports up and hand over the vtable ─────────────────────────── */
int sb_hal_zephyr_init(sb_hal *hal)
{
    for (size_t i = 0; i < ARRAY_SIZE(ports); i++) {
        if (!device_is_ready(ports[i])) {
            LOG_ERR("gpio%u not ready", (unsigned)i);
            return -ENODEV;
        }
    }

    /* Outputs the logic drives. ⚠️ Chip selects come up HIGH — a select line
     * that floats or starts low puts two radars on the bus at once. */
    for (int i = 0; i < SB_CS_COUNT; i++) {
        cfg_out(sb_cs_pins[i].port, sb_cs_pins[i].pin,
                GPIO_OUTPUT_HIGH);
    }
    for (int i = 0; i < 4; i++) {
        cfg_out(sb_mux_sel[i].port, sb_mux_sel[i].pin, GPIO_OUTPUT_LOW);
    }
    cfg_out(SB_MUX_EN_PORT, SB_MUX_EN_PIN, GPIO_OUTPUT_HIGH);  /* disabled */
    cfg_out(sb_pinmap[SB_PIN_RADAR_EN].port, sb_pinmap[SB_PIN_RADAR_EN].pin,
            GPIO_OUTPUT_LOW);
    cfg_out(sb_pinmap[SB_PIN_IR_LED_EN].port, sb_pinmap[SB_PIN_IR_LED_EN].pin,
            GPIO_OUTPUT_LOW);
    cfg_out(sb_pinmap[SB_PIN_TOF_XSHUT].port, sb_pinmap[SB_PIN_TOF_XSHUT].pin,
            GPIO_OUTPUT_LOW);   /* the ToF is held in reset until asked for */

    /* Inputs. ⚠️ The Hall sensor is open-drain (DRV5032 datasheet 8.3.2) and
     * needs the pull-up; the interrupt lines have their own on the board. */
    cfg_out(sb_pinmap[SB_PIN_HALL].port, sb_pinmap[SB_PIN_HALL].pin,
            GPIO_INPUT | GPIO_PULL_UP);
    static const int inputs[] = { SB_PIN_RADAR_IRQ_L, SB_PIN_RADAR_IRQ_R,
                                  SB_PIN_TOF_INT, SB_PIN_IMU_INT1,
                                  SB_PIN_PMIC_IRQ };
    for (size_t i = 0; i < ARRAY_SIZE(inputs); i++) {
        cfg_out(sb_pinmap[inputs[i]].port, sb_pinmap[inputs[i]].pin, GPIO_INPUT);
    }

    *hal = (sb_hal){
        .now_ms = hal_now_ms,
        .delay_us = hal_delay_us,
        .spi_xfer = hal_spi_xfer,
        .spi_burst_read = hal_spi_burst_read,
        .i2c_write = hal_i2c_write,
        .i2c_read = hal_i2c_read,
        .gpio_set = hal_gpio_set,
        .gpio_get = hal_gpio_get,
        .mux_select = hal_mux_select,
        .adc_read = hal_adc_read,
        .ctx = NULL,
    };
    return 0;
}

/* ⚠️ NOT IMPLEMENTED, AND REPORTED AS ZERO RATHER THAN GUESSED. A taxel fault is
 * a site that reads open or shorted across a whole sweep, which sb_fsr.c can
 * only conclude once the sweep runs on real electrodes. Until then the honest
 * number is none-known, and the field exists so the app can show it the day it
 * means something. */
uint8_t sb_fsr_faults(void)
{
	return 0;
}
```

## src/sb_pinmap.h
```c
/* GENERATED by hardware/generate_pinmap.py — do not edit.
 *
 * ⛔ THE SCHEMATIC, RESTATED IN C. Every number below is read out of
 * hardware/netlist.py, which is the same file the board and the
 * schematic are built from. Editing this header by hand makes the
 * image disagree with the copper, silently, and the only symptom is a
 * peripheral that does not answer.
 *
 * ⚠️ Port and pin, not a Zephyr device: the devicetree in
 * boards/smartbag.overlay is where these become gpio0/gpio1/gpio2
 * handles. This header is what the overlay and the C agree on.
 */
#ifndef SB_PINMAP_H
#define SB_PINMAP_H

#include "sb_hal.h"

/* {port, pin} for every id in sb_hal.h's pin enum, in enum order. */
static const struct { uint8_t port, pin; } sb_pinmap[SB_PIN_COUNT] = {
    [SB_PIN_RADAR_EN] = {2,  6},        /* RADAR_EN */
    [SB_PIN_RADAR_IRQ_L] = {2,  3},        /* RADAR_IRQ_L */
    [SB_PIN_RADAR_IRQ_R] = {2,  9},        /* RADAR_IRQ_R */
    [SB_PIN_TOF_XSHUT] = {1, 10},        /* TOF_XSHUT */
    [SB_PIN_TOF_INT] = {1, 14},        /* TOF_INT */
    [SB_PIN_IMU_INT1] = {0,  2},        /* IMU_INT1 */
    [SB_PIN_HALL] = {0,  3},        /* HALL_OUT */
    [SB_PIN_PMIC_IRQ] = {0,  4},        /* PMIC_IRQ */
    [SB_PIN_IR_LED_EN] = {1,  9},        /* IR_LED_EN */
};

/* Chip selects, in sb_cs order. */
static const struct { uint8_t port, pin; } sb_cs_pins[SB_CS_COUNT] = {
    [SB_CS_RADAR_L] = {2,  0},        /* CS_RADAR_L */
    [SB_CS_RADAR_R] = {2, 10},        /* CS_RADAR_R */
    [SB_CS_CAMERA] = {2,  5},        /* CS_CAM */
};

/* The FSR multiplexer: four select lines and an active-low enable. */
static const struct { uint8_t port, pin; } sb_mux_sel[4] = {
    {1,  2},                  /* MUX_S0 */
    {1,  3},                  /* MUX_S1 */
    {1,  8},                  /* MUX_S2 */
    {2,  7},                  /* MUX_S3 */
};
#define SB_MUX_EN_PORT 2
#define SB_MUX_EN_PIN  8      /* MUX_EN_N, active low */

/* The six row amplifiers, as SAADC analog inputs. ⚠️ AINn is chosen by
 * the pin, not by an index: on nRF54L each analog-capable pin maps to
 * one AIN, and netlist.py records which by naming it. */
static const struct { uint8_t port, pin; } sb_adc_rows[6] = {
    {1,  4},                  /* ADC0 */
    {1,  5},                  /* ADC1 */
    {1,  6},                  /* ADC2 */
    {1,  7},                  /* ADC3 */
    {1, 11},                  /* ADC4 */
    {1, 12},                  /* ADC5 */
};
#define SB_VSYS_SNS_PORT 1
#define SB_VSYS_SNS_PIN  13

#define SB_SCK_PORT 2
#define SB_SCK_PIN  1
#define SB_MOSI_PORT 2
#define SB_MOSI_PIN  2
#define SB_MISO_PORT 2
#define SB_MISO_PIN  4
#define SB_SDA_PORT 0
#define SB_SDA_PIN  0
#define SB_SCL_PORT 0
#define SB_SCL_PIN  1

#endif /* SB_PINMAP_H */
```
